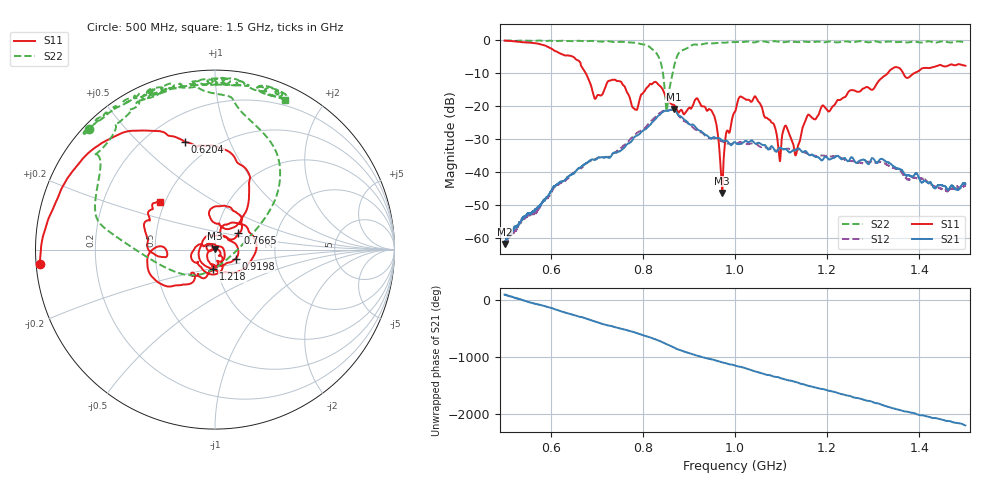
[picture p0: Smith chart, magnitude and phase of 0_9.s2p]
!Agilent Technologies,E8364B,US42250235,A.06.04.32
!Agilent E8364B: A.06.04.32
!Date: Thursday, October 01, 2020 13:21:36
!Correction: S11(Full 2 Port(1,2)) S21(Full 2 Port(1,2)) S12(Full 2 Port(1,2)) S22(Full 2 Port(1,2))
!S2P File: Measurements: S11, S21, S12, S22:
# Hz S  dB  R 50
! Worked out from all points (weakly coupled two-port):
!   2650 points, 500 MHz to 1.5 GHz, reference 50 ohm
!   highest |S21| = -20.87 dB at 867.3 MHz (marker M1); lowest = -61.7 dB at 500.8 MHz (marker M2)
!   lowest |S11| = -46.3 dB at 972.3 MHz (marker M3), VSWR 1.01, Z = 49.9 + j0.469 ohm
!   |S11| at or under -10 dB: 676 MHz to 1.332 GHz (655.8 MHz wide, 65.3 % of centre); 1.365 GHz to 1.389 GHz (24.34 MHz wide, 1.77 % of centre)
!   |S22| runs from -21.5 to -0.1 dB; largest |S21 - S12| = 0.023
!   S11 on the Smith chart (normalised r, x): 500 MHz: 0.01, -0.04; 620.4 MHz: 0.35, +0.70; 766.5 MHz: 1.27, +0.24; 919.8 MHz: 1.25, -0.13; 1.218 GHz: 0.96, -0.21; 1.5 GHz: 0.47, +0.30
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5e8  -0.18 -175.3  -61.67 98.8  -61.76 96.7  -0.27 136.2
5.00755e8  -0.18 -175.7  -61.72 100.0  -61.69 100.1  -0.27 136.0
6.204228e8  -4.08 105.7  -42.90 171.1  -43.37 175.2  -0.25 124.6
6.668554e8  -7.98 61.5  -38.31 66.5  -38.67 59.0  -0.34 122.0
6.96678e8  -17.78 68.6  -36.28 -14.4  -35.96 -18.1  -0.37 118.1
7.665157e8  -16.02 35.0  -31.43 -168.8  -31.04 -175.6  -0.66 102.5
7.842582e8  -21.06 54.6  -29.09 148.1  -28.48 138.6  -0.82 96.0
8.337108e8  -13.48 -15.2  -22.89 13.6  -22.38 -0.9  -4.97 50.0
8.522084e8  -17.43 -72.7  -21.47 -52.6  -21.39 -67.2  -21.24 -65.7
8.673084e8  -19.62 -135.9  -20.87 -107.8  -21.22 -121.4  -8.26 -174.4
9.19781e8  -18.02 -24.2  -27.17 102.9  -27.71 94.2  -1.46 138.9
9.545111e8  -22.79 -121.3  -29.42 31.4  -29.78 20.2  -1.01 124.6
9.722537e8  -46.30 104.0  -30.41 -9.9  -30.69 -18.4  -0.79 121.1
1.000189e9  -21.65 -63.9  -30.94 -66.7  -31.25 -72.2  -0.64 117.6
1.045866e9  -17.45 -169.3  -31.41 -171.1  -31.53 -175.8  -0.63 108.4
1.096451e9  -35.81 147.4  -32.62 82.8  -32.95 82.6  -0.55 108.1
1.110042e9  -25.89 154.5  -33.02 47.4  -32.97 51.5  -0.62 101.7
1.133447e9  -34.21 75.4  -33.10 2.8  -33.05 -1.2  -0.62 101.8
1.166667e9  -23.49 -75.1  -34.67 -74.7  -34.80 -73.9  -0.62 96.6
1.217629e9  -19.33 -94.6  -35.34 -172.9  -35.16 -178.1  -0.69 94.1
1.333522e9  -9.66 -141.2  -37.08 -72.4  -38.06 -68.1  -0.46 81.3
1.5e9  -7.80 139.0  -43.55 -36.5  -44.18 -37.5  -0.73 65.0
